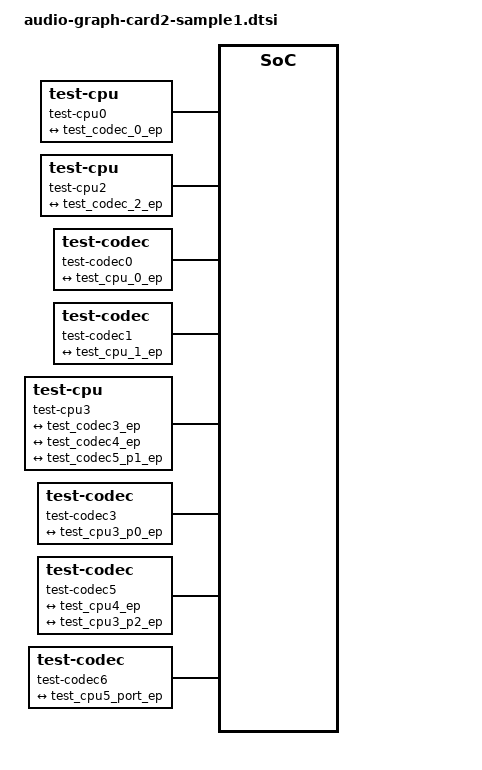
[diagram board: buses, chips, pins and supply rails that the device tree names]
// SPDX-License-Identifier: GPL-2.0
/*
 * Copyright 2025 NXP
 *
 * audio-graph-card2 simple link test scenarios
 *
 * IMPORTANT:
 *
 *	1) DO NOT use this alongside the other test scenarios as the
 *	node names are not unique across test DTSIs.
 */

/ {
	/*
	 * Testcase 00
	 *
	 * DESCRIPTION: test simple CPU-CODEC with no routing specified. Each
	 * endpoint device has only one available port.
	 *
	 * TOPOLOGY:
	 *
	 *	CPU0 <---@----> CODEC0
	 *	CPU1 <---@----> CODEC1
	 *	CPU2 <---@----> CODEC2
	 *
	 *	CPU0 => ENABLED
	 *	CPU1 => DISABLED
	 *	CPU2 => ENABLED
	 *	CODEC0 => ENABLED
	 *	CODEC1 => ENABLED
	 *	CODEC2 => DISABLED
	 *
	 * RESULT:
	 *	- sound card creation should succeed with 2 explicitly disabled links.
	 */
	test-case-00 {
		compatible = "audio-graph-card2";
		label = "test-case-00";
		links = <&simple_cpu0_port>,
			<&simple_cpu1_port>,
			<&simple_cpu2_port>;
	};

	test-cpu0 {
		compatible = "test-cpu";

		simple_cpu0_port: port {
			biclock-master;
			frame-master;

			test_cpu_0_ep: endpoint {
				remote-endpoint = <&test_codec_0_ep>;
			};
		};
	};

	test-cpu1 {
		compatible = "test-cpu";
		status = "disabled";

		simple_cpu1_port: port {
			biclock-master;
			frame-master;

			test_cpu_1_ep: endpoint {
				remote-endpoint = <&test_codec_1_ep>;
			};
		};
	};

	test-cpu2 {
		compatible = "test-cpu";

		simple_cpu2_port: port {
			bitclock-master;
			frame-master;

			test_cpu_2_ep: endpoint {
				remote-endpoint = <&test_codec_2_ep>;
			};
		};
	};

	test-codec0 {
		compatible = "test-codec";

		port {
			test_codec_0_ep: endpoint {
				remote-endpoint = <&test_cpu_0_ep>;
			};
		};
	};

	test-codec1 {
		compatible = "test-codec";

		port {
			test_codec_1_ep: endpoint {
				remote-endpoint = <&test_cpu_1_ep>;
			};
		};
	};

	test-codec2 {
		compatible = "test-codec";
		status = "disabled";

		port {
			test_codec_2_ep: endpoint {
				remote-endpoint = <&test_cpu_2_ep>;
			};
		};
	};

	/*
	 * Testcase 01
	 *
	 * DESCRIPTION: test simple CPU-CODEC with no routing specified. Each
	 * endpoint device has one or more available ports.
	 *
	 * TOPOLOGY:
	 *
	 *	CPU3/P0 <---@----> CODEC3
	 *	CPU3/P1 <---@----> CODEC4
	 *	CPU4    <---@----> CODEC5/P0
	 *	CPU3/P2 <---@----> CODEC5/P1
	 *
	 *	CPU3 => ENABLED
	 *	CPU4 => DISABLED
	 *	CODEC3 => ENABLED
	 *	CODEC4 => DISABLED
	 *
	 * RESULT:
	 *	- sound card creation should succeed with 2 explicitly disabled links
	 */
	test-case-01 {
		compatible = "audio-graph-card2";
		label = "test-case-01";
		links = <&test_cpu3_port0>,
			<&test_cpu3_port1>,
			<&test_cpu4_port>,
			<&test_cpu3_port2>;
	};

	test-cpu3 {
		compatible = "test-cpu";

		ports {
			#address-cells = <1>;
			#size-cells = <0>;

			test_cpu3_port0: port@0 {
				reg = <0>;

				test_cpu3_p0_ep: endpoint {
					remote-endpoint = <&test_codec3_ep>;
				};
			};

			test_cpu3_port1: port@1 {
				reg = <1>;

				test_cpu3_p1_ep: endpoint {
					remote-endpoint = <&test_codec4_ep>;
				};
			};

			test_cpu3_port2: port@2 {
				reg = <2>;

				test_cpu3_p2_ep: endpoint {
					remote-endpoint = <&test_codec5_p1_ep>;
				};
			};
		};
	};

	test-cpu4 {
		compatible = "test-cpu";
		status = "disabled";

		test_cpu4_port: port {
			test_cpu4_ep: endpoint {
				remote-endpoint = <&test_codec5_p0_ep>;
			};
		};
	};

	test-codec3 {
		compatible = "test-codec";

		port {
			test_codec3_ep: endpoint {
				remote-endpoint = <&test_cpu3_p0_ep>;
			};
		};
	};

	test-codec4 {
		compatible = "test-codec";
		status = "disabled";

		port {
			test_codec4_ep: endpoint {
				remote-endpoint = <&test_cpu3_p1_ep>;
			};
		};
	};

	test-codec5 {
		compatible = "test-codec";

		ports {
			#address-cells = <1>;
			#size-cells = <0>;

			test_codec5_port0: port@0 {
				reg = <0>;

				test_codec5_p0_ep: endpoint {
					remote-endpoint = <&test_cpu4_ep>;
				};
			};

			test_codec5_port1: port@1 {
				reg = <1>;

				test_codec5_p1_ep: endpoint {
					remote-endpoint = <&test_cpu3_p2_ep>;
				};
			};
		};
	};

	/*
	 * Testcase 02
	 *
	 * DESCRIPTION: test simple CPU-CODEC with no routing specified. The
	 * CPU-CODEC link is disabled.
	 *
	 * TOPOLOGY:
	 *
	 *	CPU5 <---@-----> CODEC6
	 *
	 *	CPU5 => DISABLED
	 *	CODEC6 => ENABLED
	 *
	 * RESULT:
	 *	- sound card creation should fail since all of its links are
	 *	explicitly disabled.
	 */
	test-case-02 {
		compatible = "audio-graph-card2";
		label = "test-case-02";
		links = <&test_cpu5_port>;
	};

	test-cpu5 {
		compatible = "test-cpu";
		status = "disabled";

		test_cpu5_port: port {
			test_cpu5_port_ep: endpoint {
				remote-endpoint = <&test_codec6_port_ep>;
			};
		};
	};

	test-codec6 {
		compatible = "test-codec";

		port {
			test_codec6_port_ep: endpoint {
				remote-endpoint = <&test_cpu5_port_ep>;
			};
		};
	};
};
